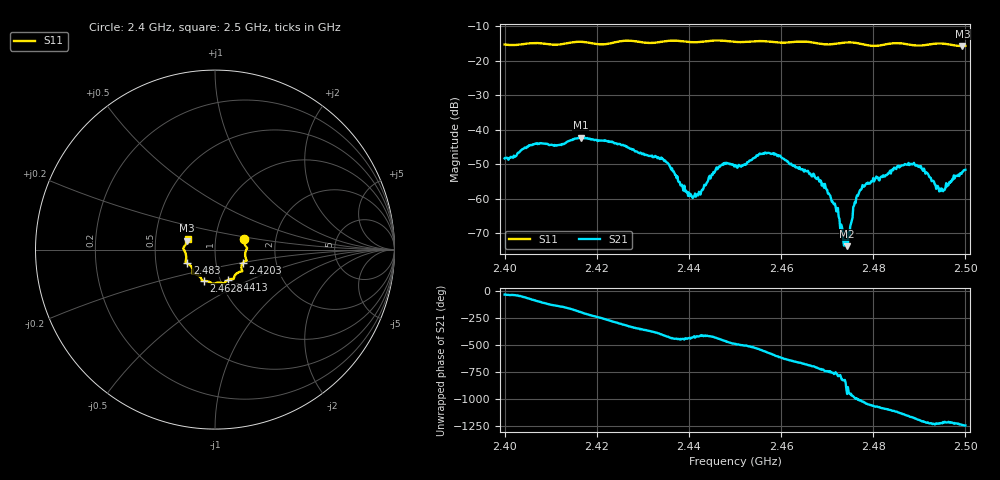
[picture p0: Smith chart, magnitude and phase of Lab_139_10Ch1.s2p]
# Hz S RI R 50
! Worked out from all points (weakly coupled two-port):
!   601 points, 2.4 GHz to 2.5 GHz, reference 50 ohm
!   highest |S21| = -42.29 dB at 2.4165 GHz (marker M1); lowest = -73.7 dB at 2.4743 GHz (marker M2)
!   lowest |S11| = -15.8 dB at 2.4993 GHz (marker M3), VSWR 1.39, Z = 36.5 + j3.72 ohm
!   |S11| at or under -10 dB: start of sweep to end of sweep
!   S12 and S22 are empty: the file has one direction only
!   S11 on the Smith chart (normalised r, x): 2.4 GHz: 1.37, +0.16; 2.4203 GHz: 1.35, -0.21; 2.4413 GHz: 1.09, -0.38; 2.4628 GHz: 0.83, -0.30; 2.483 GHz: 0.72, -0.11; 2.5 GHz: 0.73, +0.09
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2.4e9  0.1605 0.0568  0.00323 -0.00208  0 0  0 0
2.4165e9  0.1764 -0.0611  -0.00744 0.00193  0 0  0 0
2.416667e9  0.176 -0.0612  -0.00726 0.00221  0 0  0 0
2.420333e9  0.1553 -0.0738  -0.00334 0.00618  0 0  0 0
2.433333e9  0.108 -0.1484  0.00342 -0.00208  0 0  0 0
2.441333e9  0.0744 -0.1681  0.000383 -0.00113  0 0  0 0
2.446333e9  0.049 -0.1888  0.000435 -0.00273  0 0  0 0
2.45e9  0.0295 -0.1838  -0.00192 -0.0024  0 0  0 0
2.457e9  -0.0167 -0.1884  -0.00405 0.00217  0 0  0 0
2.462833e9  -0.063 -0.1749  0.00106 0.00276  0 0  0 0
2.466667e9  -0.0743 -0.1675  0.00191 0.000894  0 0  0 0
2.47e9  -0.0923 -0.1437  0.00126 -0.000455  0 0  0 0
2.474e9  -0.1231 -0.1345  -0.000138 -0.00021  0 0  0 0
2.474333e9  -0.1238 -0.1341  -0.000127 0.000162  0 0  0 0
2.476167e9  -0.125 -0.1297  0.000118 0.00086  0 0  0 0
2.477333e9  -0.1242 -0.122  0.00048 0.00126  0 0  0 0
2.483e9  -0.1548 -0.0766  0.00214 -0.000529  0 0  0 0
2.483333e9  -0.1569 -0.0756  0.0022 -0.0007  0 0  0 0
2.489167e9  -0.1605 -0.039  -0.00038 -0.00298  0 0  0 0
2.494833e9  -0.1759 0.00999  -0.00109 -0.000899  0 0  0 0
2.499333e9  -0.1543 0.0496  -0.00227 -0.000929  0 0  0 0
2.5e9  -0.1526 0.0587  -0.00251 -0.000776  0 0  0 0
